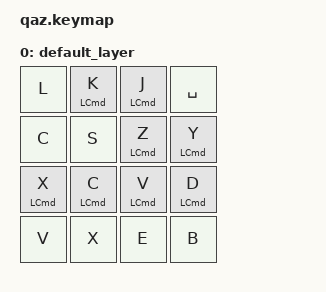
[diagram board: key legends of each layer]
#include <behaviors.dtsi>
#include <dt-bindings/zmk/keys.h>
/ {
    keymap {
        compatible = "zmk,keymap";
default_layer {
// --------------------------------------------------------------------------------------------------------------------------------------------------------------------
// |    L    |    K    |    J    |  SPACE  | 
// |    C    |    S    |    Z    |    Y    |   
// |    X    |    C    |    V    |    D    |    
// |    V    |    X    |    E    |    B    |
            bindings = <
    &kp L       &mt LCMD K  &mt LCMD J   &kp SPACE         
    &kp C       &kp S       &mt LCMD Z   &mt LCMD Y         
    &mt LCMD X  &mt LCMD C  &mt LCMD V   &mt LCMD D        
    &kp V       &kp X       &kp E        &kp B             
            >;

           
        };
    };
};
